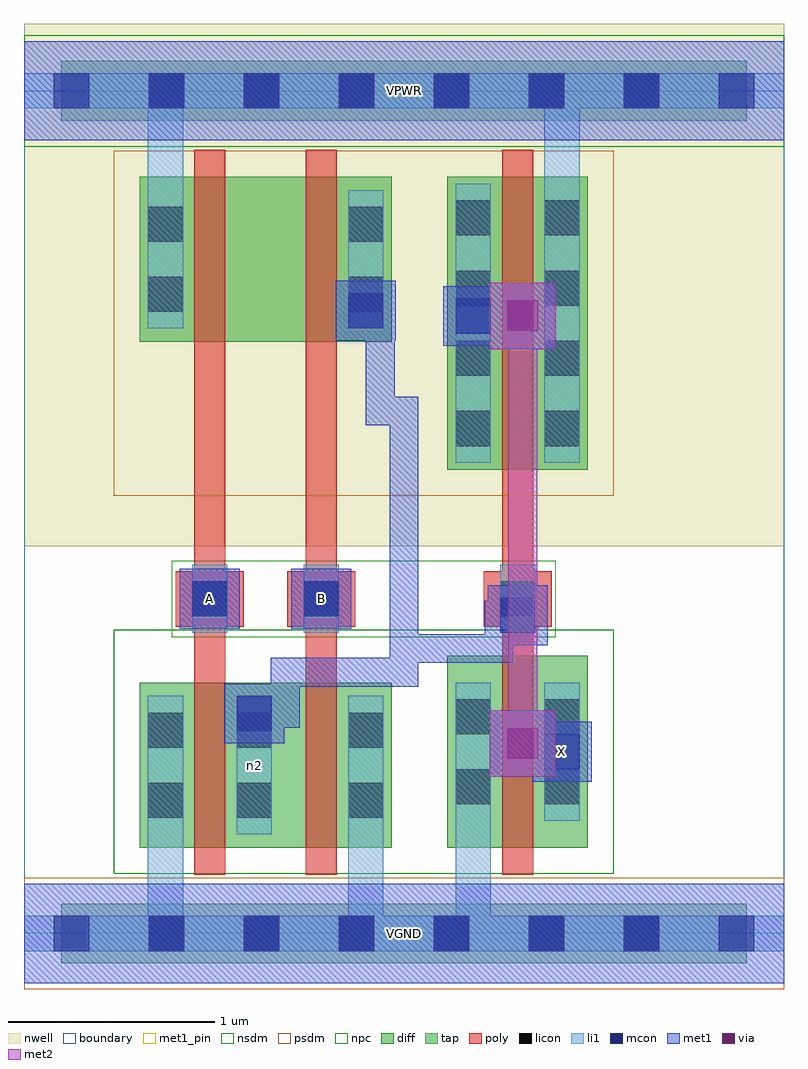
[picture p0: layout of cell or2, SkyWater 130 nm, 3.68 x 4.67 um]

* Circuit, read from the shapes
.subckt or2 A B VGND VPWR X n2
XM1 n2 A VGND VGND sky130_fd_pr__nfet_01v8 w=0.8 l=0.15
XM2 VGND B n2 VGND sky130_fd_pr__nfet_01v8 w=0.8 l=0.15
XM3 X n2 VGND VGND sky130_fd_pr__nfet_01v8 w=0.93 l=0.15
XM4 n1 A VPWR VPWR sky130_fd_pr__pfet_01v8 w=0.8 l=0.15
XM5 n2 B n1 VPWR sky130_fd_pr__pfet_01v8 w=0.8 l=0.15
XM6 VPWR n2 X VPWR sky130_fd_pr__pfet_01v8 w=1.42 l=0.15
.ends

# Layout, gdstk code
import gdstk
lib = gdstk.Library(unit=1e-6, precision=1e-09)
def R(c, l, rs):  # rectangles x0, y0, x1, y1
    for r in rs: c.add(gdstk.rectangle(r[:2], r[2:], *l))
def A(c, l, x, y, w, h, nx, ny, dx, dy):  # array of equal rectangles
    R(c, l, [(x+i*dx, y+j*dy, x+i*dx+w, y+j*dy+h) for i in range(nx) for j in range(ny)])
nwell = (64, 20)
diff = (65, 20)
tap = (65, 44)
poly = (66, 20)
licon = (66, 44)
li1 = (67, 20)
mcon = (67, 44)
met1_pin = (68, 16)
met1 = (68, 20)
via = (68, 44)
met2 = (69, 20)
nsdm = (93, 44)
psdm = (94, 20)
npc = (95, 20)
boundary = (235, 4)

or2 = lib.new_cell('or2')
R(or2, nwell, [(0,1.875,3.68,4.405)])
R(or2, diff, [(0.56,0.415,1.78,1.215), (2.05,0.415,2.73,1.345), (2.05,2.245,2.73,3.665), (0.56,2.865,1.78,3.665)])
R(or2, tap, [(0.18,-0.145,3.5,0.145), (0.18,3.935,3.5,4.225)])
R(or2, poly, [(0.825,0.285,0.975,3.795), (1.365,0.285,1.515,3.795), (2.315,0.285,2.465,3.795), (0.735,1.485,1.065,1.755), (1.275,1.485,1.605,1.755), (2.225,1.485,2.555,1.755)])
A(or2, licon, 0.605, -0.085, 0.17, 0.17, 6, 2, 0.46, 4.08)
A(or2, licon, 2.09, 2.36, 0.17, 0.17, 1, 4, 0, 0.34)
A(or2, licon, 2.52, 2.36, 0.17, 0.17, 1, 4, 0, 0.34)
R(or2, licon, [(0.6,0.56,0.77,0.73), (1.03,0.56,1.2,0.73), (1.57,0.56,1.74,0.73), (2.09,0.625,2.26,0.795), (2.52,0.625,2.69,0.795), (0.6,0.9,0.77,1.07), (1.03,0.9,1.2,1.07), (1.57,0.9,1.74,1.07), (2.09,0.965,2.26,1.135), (2.52,0.965,2.69,1.135), (0.815,1.535,0.985,1.705), (1.355,1.535,1.525,1.705), (2.305,1.535,2.475,1.705), (0.6,3.01,0.77,3.18), (1.57,3.01,1.74,3.18), (0.6,3.35,0.77,3.52), (1.57,3.35,1.74,3.52)])
R(or2, li1, [(0,-0.085,3.68,0.085), (0.6,-0.085,0.77,1.15), (1.57,-0.085,1.74,1.15), (2.09,-0.085,2.26,1.215), (0.6,0.48,0.77,1.15), (1.03,0.48,1.2,1.15), (1.57,0.48,1.74,1.15), (2.09,0.545,2.26,1.215), (2.52,0.545,2.69,1.215), (0.815,1.455,0.985,1.785), (1.355,1.455,1.525,1.785), (2.305,1.455,2.475,1.785), (2.09,2.28,2.26,3.63), (2.52,2.28,2.69,3.63), (2.52,2.28,2.69,4.165), (0.6,2.93,0.77,3.6), (0.6,2.93,0.77,4.165), (1.57,2.93,1.74,3.6), (0,3.995,3.68,4.165)])
A(or2, mcon, 0.145, -0.085, 0.17, 0.17, 8, 2, 0.46, 4.08)
R(or2, mcon, [(2.52,0.795,2.69,0.965), (1.03,0.98,1.2,1.15), (2.305,1.455,2.475,1.625), (0.815,1.535,0.985,1.705), (1.355,1.535,1.525,1.705), (2.09,2.905,2.26,3.075), (1.57,2.93,1.74,3.1)])
R(or2, met1_pin, [(0,-0.24,3.68,0.24), (2.46,0.735,2.75,1.025), (0.755,1.475,1.045,1.765), (1.295,1.475,1.585,1.765), (0,3.84,3.68,4.32)])
R(or2, met1, [(0,-0.24,3.68,0.24), (2.46,0.735,2.75,1.025), (2.255,0.76,2.575,1.08), (2.345,0.85,2.6,0.99), (2.46,0.85,2.6,0.99), (0.97,0.92,1.26,1.21), (1.045,0.995,1.335,1.135), (1.195,0.995,1.335,1.335), (1.195,1.195,1.91,1.335), (1.77,1.195,1.91,1.45), (1.77,1.31,2.37,1.45), (1.77,1.31,1.91,2.6), (2.23,1.31,2.37,1.61), (2.245,1.395,2.535,1.685), (2.23,1.47,2.46,1.61), (0.755,1.475,1.045,1.765), (1.295,1.475,1.585,1.765), (1.655,2.46,1.91,2.6), (1.655,2.46,1.795,2.945), (1.655,2.805,1.795,3.085), (2.255,2.83,2.575,3.15), (2.03,2.845,2.32,3.135), (1.51,2.87,1.8,3.16), (2.105,2.92,2.37,3.06), (2.23,2.92,2.485,3.06), (1.585,2.945,1.795,3.085), (0,3.84,3.68,4.32)])
R(or2, via, [(2.34,0.845,2.49,0.995), (2.34,2.915,2.49,3.065)])
R(or2, met2, [(2.255,0.76,2.575,1.08), (2.345,0.85,2.485,3.06), (2.255,2.83,2.575,3.15)])
R(or2, nsdm, [(0.435,0.29,2.855,1.47), (0,3.81,3.68,4.35)])
R(or2, psdm, [(0,-0.27,3.68,0.27), (0.435,2.12,2.855,3.79)])
R(or2, npc, [(0.715,1.435,2.575,1.805)])
R(or2, boundary, [(0,0,3.68,4.08)])
or2.add(gdstk.Label('n2', (1.115,0.815), layer=67, texttype=5))
or2.add(gdstk.Label('A', (0.9,1.62), layer=68, texttype=5))
or2.add(gdstk.Label('B', (1.44,1.62), layer=68, texttype=5))
or2.add(gdstk.Label('X', (2.605,0.88), layer=68, texttype=5))
or2.add(gdstk.Label('VPWR', (1.84,4.08), layer=68, texttype=5))
or2.add(gdstk.Label('VGND', (1.84,0), layer=68, texttype=5))
or2.add(gdstk.Label('A', (0.9,1.62), layer=68, texttype=16))
or2.add(gdstk.Label('B', (1.44,1.62), layer=68, texttype=16))
or2.add(gdstk.Label('X', (2.605,0.88), layer=68, texttype=16))
or2.add(gdstk.Label('VPWR', (1.84,4.08), layer=68, texttype=16))
or2.add(gdstk.Label('VGND', (1.84,0), layer=68, texttype=16))

lib.write_gds('or2.gds')
